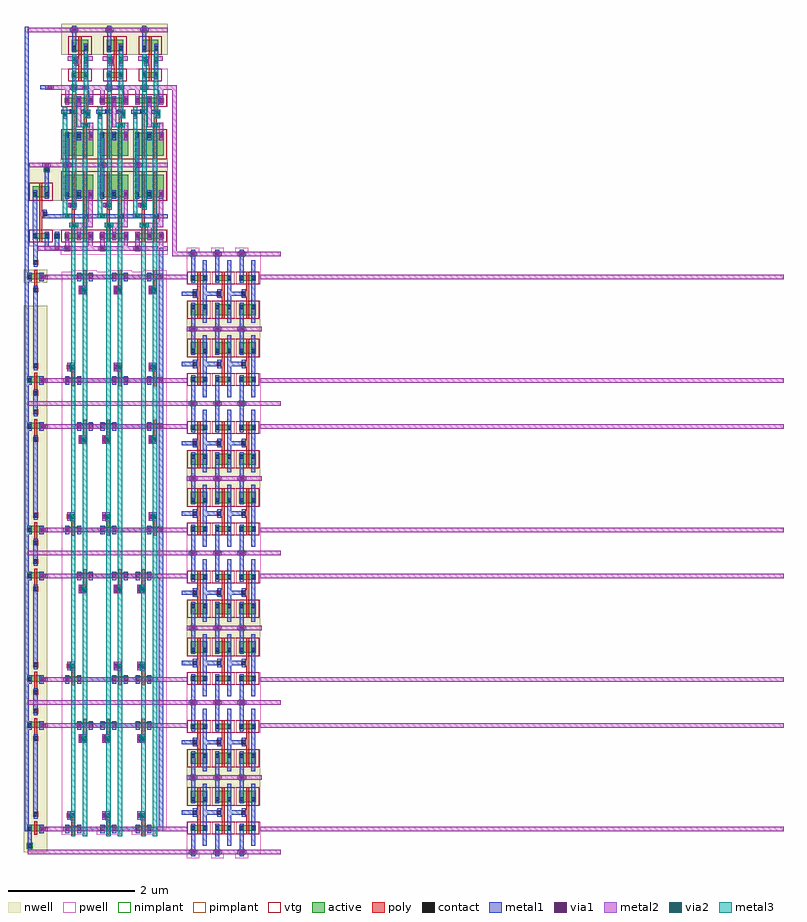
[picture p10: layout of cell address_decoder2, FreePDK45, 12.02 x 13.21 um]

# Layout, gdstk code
from math import pi, radians
import gdstk
lib = gdstk.Library(unit=1e-6, precision=5e-10)
def R(c, l, rs):  # rectangles x0, y0, x1, y1
    for r in rs: c.add(gdstk.rectangle(r[:2], r[2:], *l))
def A(c, l, x, y, w, h, nx, ny, dx, dy):  # array of equal rectangles
    R(c, l, [(x+i*dx, y+j*dy, x+i*dx+w, y+j*dy+h) for i in range(nx) for j in range(ny)])
active = (1, 0)
pwell = (2, 0)
nwell = (3, 0)
nimplant = (4, 0)
pimplant = (5, 0)
vtg = (6, 0)
poly = (9, 0)
contact = (10, 0)
metal1 = (11, 0)
via1 = (12, 0)
metal2 = (13, 0)
via2 = (14, 0)
metal3 = (15, 0)

dcont_26 = lib.new_cell('dcont_26')
R(dcont_26, active, [(-0.0375,0.03,0.0375,0.105)])
R(dcont_26, contact, [(-0.0325,0.035,0.0325,0.1)])
R(dcont_26, metal1, [(-0.0325,0,0.0325,0.135)])

pmos_vtl_22 = lib.new_cell('pmos_vtl_22')
R(pmos_vtl_22, active, [(-0.105,0,0.155,0.1), (-0.105,0,-0.03,0.1), (-0.105,0,-0.03,0.1), (0.08,0,0.155,0.1), (0.08,0,0.155,0.1)])
R(pmos_vtl_22, nwell, [(-0.16,-0.055,0.21,0.155)])
R(pmos_vtl_22, pimplant, [(-0.105,0,0.155,0.1)])
R(pmos_vtl_22, poly, [(0,-0.055,0.05,0), (0,-0.055,0.05,0.155), (0,0.1,0.05,0.155)])
pmos_vtl_22.add(gdstk.Reference(dcont_26, (0.1175,-0.03)))
pmos_vtl_22.add(gdstk.Reference(dcont_26, (-0.0675,-0.03)))
pmos_vtl_22.add(gdstk.Label('l = 0.05', (0.06,0.05), layer=239, texttype=0))
pmos_vtl_22.add(gdstk.Label('w = 0.10', (0.025,0.165), layer=239, texttype=0))

pcont_2 = lib.new_cell('pcont_2')
R(pcont_2, poly, [(-0.0375,-0.0375,0.0375,0.0375)])
R(pcont_2, contact, [(-0.0325,-0.0325,0.0325,0.0325)])
R(pcont_2, metal1, [(-0.0325,-0.0675,0.0325,0.0675)])

nmos_vtl_23 = lib.new_cell('nmos_vtl_23')
R(nmos_vtl_23, active, [(-0.105,0,0.155,0.09), (-0.105,0,-0.03,0.09), (-0.105,0,-0.03,0.09), (0.08,0,0.155,0.09), (0.08,0,0.155,0.09)])
R(nmos_vtl_23, pwell, [(-0.16,-0.055,0.21,0.145)])
R(nmos_vtl_23, nimplant, [(-0.105,0,0.155,0.09)])
R(nmos_vtl_23, poly, [(0,-0.055,0.05,0), (0,-0.055,0.05,0.145), (0,0.09,0.05,0.145)])
nmos_vtl_23.add(gdstk.Reference(dcont_26, (0.1175,-0.03)))
nmos_vtl_23.add(gdstk.Reference(dcont_26, (-0.0675,-0.03)))
nmos_vtl_23.add(gdstk.Label('l = 0.05', (0.06,0.045), layer=239, texttype=0))
nmos_vtl_23.add(gdstk.Label('w = 0.09', (0.025,0.155), layer=239, texttype=0))

m2_m1_viac = lib.new_cell('M2_M1_viaC')
R(m2_m1_viac, metal1, [(-0.0325,-0.0675,0.0325,0.0675)])
R(m2_m1_viac, via1, [(-0.0325,-0.0325,0.0325,0.0325)])
R(m2_m1_viac, metal2, [(-0.035,-0.0675,0.035,0.0675)])

m3_m2_viab = lib.new_cell('M3_M2_viaB')
R(m3_m2_viab, metal2, [(-0.035,-0.07,0.035,0.07)])
R(m3_m2_viab, via2, [(-0.035,-0.035,0.035,0.035)])
R(m3_m2_viab, metal3, [(-0.035,-0.07,0.035,0.07)])

m2_m1_viab = lib.new_cell('M2_M1_viaB')
R(m2_m1_viab, metal1, [(-0.0675,-0.0325,0.0675,0.0325)])
R(m2_m1_viab, via1, [(-0.0325,-0.0325,0.0325,0.0325)])
R(m2_m1_viab, metal2, [(-0.0675,-0.035,0.0675,0.035)])

dcont_25 = lib.new_cell('dcont_25')
R(dcont_25, active, [(-0.0375,0.03,0.0375,0.105)])
R(dcont_25, contact, [(-0.0325,0.035,0.0325,0.1)])
R(dcont_25, metal1, [(-0.0325,0,0.0325,0.135)])

pmos_vtg_4 = lib.new_cell('pmos_vtg_4')
R(pmos_vtg_4, active, [(-0.105,0,0.155,0.18), (-0.105,0,-0.03,0.18), (0.08,0,0.155,0.18), (-0.105,0.01,-0.03,0.085), (0.08,0.01,0.155,0.085)])
R(pmos_vtg_4, nwell, [(-0.16,-0.055,0.21,0.235)])
R(pmos_vtg_4, pimplant, [(-0.105,0,0.155,0.18)])
R(pmos_vtg_4, vtg, [(-0.16,-0.055,0.21,0.235)])
R(pmos_vtg_4, poly, [(0,-0.055,0.05,0), (0,-0.055,0.05,0.235), (0,0.18,0.05,0.235)])
pmos_vtg_4.add(gdstk.Reference(dcont_25, (0.1175,-0.02)))
pmos_vtg_4.add(gdstk.Reference(dcont_25, (-0.0675,-0.02)))
pmos_vtg_4.add(gdstk.Label('l = 0.05', (0.06,0.09), layer=239, texttype=0))
pmos_vtg_4.add(gdstk.Label('w = 0.18', (0.025,0.245), layer=239, texttype=0))

nmos_vtg_5 = lib.new_cell('nmos_vtg_5')
R(nmos_vtg_5, active, [(-0.105,0,0.155,0.09), (-0.105,0,-0.03,0.09), (0.08,0,0.155,0.09), (-0.105,0.01,-0.03,0.085), (0.08,0.01,0.155,0.085)])
R(nmos_vtg_5, pwell, [(-0.16,-0.055,0.21,0.145)])
R(nmos_vtg_5, nimplant, [(-0.105,0,0.155,0.09)])
R(nmos_vtg_5, vtg, [(-0.16,-0.055,0.21,0.145)])
R(nmos_vtg_5, poly, [(0,-0.055,0.05,0), (0,-0.055,0.05,0.145), (0,0.09,0.05,0.145)])
nmos_vtg_5.add(gdstk.Reference(dcont_25, (0.1175,-0.02)))
nmos_vtg_5.add(gdstk.Reference(dcont_25, (-0.0675,-0.02)))
nmos_vtg_5.add(gdstk.Label('l = 0.05', (0.06,0.045), layer=239, texttype=0))
nmos_vtg_5.add(gdstk.Label('w = 0.09', (0.025,0.155), layer=239, texttype=0))

ntap_1 = lib.new_cell('NTAP_1')
R(ntap_1, active, [(-0.045,-0.045,0.045,0.045)])
R(ntap_1, nwell, [(-0.1,-0.1,0.1,0.1)])
R(ntap_1, nimplant, [(-0.045,-0.045,0.045,0.045)])
R(ntap_1, contact, [(-0.0325,-0.0325,0.0325,0.0325)])
R(ntap_1, metal1, [(-0.0325,-0.0675,0.0325,0.0675)])

ptap_0 = lib.new_cell('PTAP_0')
R(ptap_0, active, [(-0.045,-0.045,0.045,0.045)])
R(ptap_0, pwell, [(-0.1,-0.1,0.1,0.1)])
R(ptap_0, pimplant, [(-0.045,-0.045,0.045,0.045)])
R(ptap_0, contact, [(-0.0325,-0.0325,0.0325,0.0325)])
R(ptap_0, metal1, [(-0.0325,-0.0675,0.0325,0.0675)])

inv = lib.new_cell('inv')
R(inv, pwell, [(-0.005,-0.035,0.3925,0.48)])
R(inv, nwell, [(-0.005,0.735,0.385,1.225)])
R(inv, poly, [(0.1625,0.4675,0.2125,0.7375), (0.09,0.59,0.1625,0.66)])
R(inv, metal1, [(0.0625,0.005,0.1275,0.325), (0.2475,0.1,0.3125,1.0825), (-0.0875,0.595,0.1125,0.66), (0.0625,0.8925,0.1275,1.1175)])
R(inv, metal2, [(-0.235,-0.035,0.71,0.035), (-0.005,1.1475,0.4125,1.2175)])
inv.add(gdstk.Reference(pcont_2, (0.125,0.625)))
inv.add(gdstk.Reference(m2_m1_viab, (0.095,1.1825)))
inv.add(gdstk.Reference(m2_m1_viab, (0.095,0)))
inv.add(gdstk.Reference(pmos_vtg_4, (0.1625,0.79)))
inv.add(gdstk.Reference(nmos_vtg_5, (0.1625,0.335)))
inv.add(gdstk.Reference(ntap_1, (0.095,1.1825)))
inv.add(gdstk.Reference(ptap_0, (0.095,0)))

pmos_vtg_1 = lib.new_cell('pmos_vtg_1')
R(pmos_vtg_1, active, [(-0.105,0,0.155,0.36), (-0.105,0,-0.03,0.36), (0.08,0,0.155,0.36), (-0.105,0.01,-0.03,0.085), (0.08,0.01,0.155,0.085)])
R(pmos_vtg_1, nwell, [(-0.16,-0.055,0.21,0.415)])
R(pmos_vtg_1, pimplant, [(-0.105,0,0.155,0.36)])
R(pmos_vtg_1, vtg, [(-0.16,-0.055,0.21,0.415)])
R(pmos_vtg_1, poly, [(0,-0.055,0.05,0), (0,-0.055,0.05,0.415), (0,0.36,0.05,0.415)])
pmos_vtg_1.add(gdstk.Reference(dcont_25, (0.1175,-0.02)))
pmos_vtg_1.add(gdstk.Reference(dcont_25, (-0.0675,-0.02)))
pmos_vtg_1.add(gdstk.Label('l = 0.05', (0.06,0.18), layer=239, texttype=0))
pmos_vtg_1.add(gdstk.Label('w = 0.36', (0.025,0.425), layer=239, texttype=0))

m3_m2_viac = lib.new_cell('M3_M2_viaC')
R(m3_m2_viac, metal2, [(-0.07,-0.035,0.07,0.035)])
R(m3_m2_viac, via2, [(-0.035,-0.035,0.035,0.035)])
R(m3_m2_viac, metal3, [(-0.07,-0.035,0.07,0.035)])

nor_1 = lib.new_cell('nor_1')
R(nor_1, pwell, [(-0.005,-0.2375,0.575,0.16)])
R(nor_1, nwell, [(-0.005,0.615,0.575,1.28)])
R(nor_1, poly, [(0.1625,0.13,0.2125,0.205), (0.3525,0.13,0.4025,0.205), (0.3525,0.1875,0.4025,0.615), (0.1625,0.19,0.2125,0.615)])
R(nor_1, metal1, [(0,0.34,0.575,0.405), (0.0625,0.7725,0.1275,1.215)])
R(nor_1, metal2, [(0,-0.1725,0.575,-0.1025), (0.06,-0.1725,0.13,0.0025), (0.43,-0.1725,0.5,0.0025), (0.2475,0.09,0.3175,0.2675), (0.2275,0.1975,0.5,0.2675), (0.43,0.1975,0.5,0.7825), (0.0075,1.145,0.575,1.215)])
nor_1.add(gdstk.Reference(pmos_vtg_1, (0.3525,0.67)))
nor_1.add(gdstk.Reference(pmos_vtg_1, (0.1625,0.67)))
nor_1.add(gdstk.Reference(pcont_2, (0.39,0.3725), rotation=pi/2))
nor_1.add(gdstk.Reference(pcont_2, (0.175,0.5475), rotation=pi/2))
nor_1.add(gdstk.Reference(m2_m1_viab, (0.095,1.18)))
nor_1.add(gdstk.Reference(m2_m1_viab, (0.175,0.5475)))
nor_1.add(gdstk.Reference(m2_m1_viab, (0.095,-0.1375)))
nor_1.add(gdstk.Reference(m2_m1_viab, (0.2825,0.06), rotation=pi/2))
nor_1.add(gdstk.Reference(m2_m1_viac, (0.465,0.7175)))
nor_1.add(gdstk.Reference(m2_m1_viac, (0.465,0.06)))
nor_1.add(gdstk.Reference(m2_m1_viac, (0.095,0.06)))
nor_1.add(gdstk.Reference(m3_m2_viac, (0.2,0.2325)))
nor_1.add(gdstk.Reference(m3_m2_viac, (0.205,0.5475), rotation=pi/2))
nor_1.add(gdstk.Reference(nmos_vtg_5, (0.3525,0.015)))
nor_1.add(gdstk.Reference(nmos_vtg_5, (0.1625,0.015)))
nor_1.add(gdstk.Reference(ntap_1, (0.095,1.18)))
nor_1.add(gdstk.Reference(ptap_0, (0.095,-0.1375), rotation=pi/2))
nor_1.add(gdstk.Label('VDD', (0.2875,1.1875), layer=13, texttype=0))
nor_1.add(gdstk.Label('z', (0.475,0.4625), layer=13, texttype=0))
nor_1.add(gdstk.Label('VSS', (0.29,-0.14), layer=13, texttype=0))

nor_1_mx = lib.new_cell('nor_1_mx')
R(nor_1_mx, poly, [(0.1625,0.31,0.2125,0.385), (0.3525,0.325,0.4025,0.7), (0.1625,0.35,0.2125,0.7025), (0.1625,0.625,0.2125,0.7)])
R(nor_1_mx, metal1, [(0,0.385,0.1525,0.45), (0.0625,0.8575,0.1275,1.3)])
R(nor_1_mx, metal2, [(0,0,0.575,0.07), (0.06,0,0.13,0.185), (0.435,0,0.505,0.185), (0.2475,0.215,0.3175,0.6675), (0.2475,0.5975,0.505,0.6675), (0.435,0.5975,0.505,0.865), (0.0075,1.23,0.575,1.3)])
nor_1_mx.add(gdstk.Reference(pmos_vtg_1, (0.3525,0.755)))
nor_1_mx.add(gdstk.Reference(pmos_vtg_1, (0.1625,0.755)))
nor_1_mx.add(gdstk.Reference(pcont_2, (0.175,0.4175), rotation=pi/2))
nor_1_mx.add(gdstk.Reference(pcont_2, (0.3875,0.4175), rotation=pi/2))
nor_1_mx.add(gdstk.Reference(m2_m1_viab, (0.4225,0.4525), rotation=pi/2))
nor_1_mx.add(gdstk.Reference(m2_m1_viab, (0.095,1.265)))
nor_1_mx.add(gdstk.Reference(m2_m1_viab, (0.2825,0.2525), rotation=pi/2))
nor_1_mx.add(gdstk.Reference(m2_m1_viac, (0.47,0.8025)))
nor_1_mx.add(gdstk.Reference(m2_m1_viac, (0.095,0.2425)))
nor_1_mx.add(gdstk.Reference(m2_m1_viac, (0.47,0.2425)))
nor_1_mx.add(gdstk.Reference(m3_m2_viac, (0.4225,0.455), rotation=pi/2))
nor_1_mx.add(gdstk.Reference(m3_m2_viac, (0.38,0.6325)))
nor_1_mx.add(gdstk.Reference(nmos_vtg_5, (0.3525,0.195)))
nor_1_mx.add(gdstk.Reference(nmos_vtg_5, (0.1625,0.195)))
nor_1_mx.add(gdstk.Label('a0', (0.385,0.4175), layer=11, texttype=0))

inv_dec = lib.new_cell('inv_dec')
R(inv_dec, pwell, [(-0.1375,-0.055,0.2525,0.34)])
R(inv_dec, nwell, [(-0.1375,0.565,0.2525,1.055)])
R(inv_dec, poly, [(0.03,0.34,0.08,0.5675), (-0.0425,0.42,0.03,0.49)])
R(inv_dec, metal1, [(-0.5775,0.0125,-0.36,0.0775), (-0.07,0.05,-0.005,0.185), (0.115,0.305,0.18,0.6125), (-0.07,0.7225,-0.005,0.9475)])
R(inv_dec, metal2, [(-0.495,0.01,0.4725,0.08), (-0.1375,0.465,0.03,0.535), (0.1125,0.465,0.2525,0.535), (-0.1375,0.92,0.2525,0.99)])
inv_dec.add(gdstk.Reference(pcont_2, (-0.005,0.455)))
inv_dec.add(gdstk.Reference(m2_m1_viab, (-0.0375,0.045)))
inv_dec.add(gdstk.Reference(m2_m1_viab, (-0.0375,0.955)))
inv_dec.add(gdstk.Reference(m2_m1_viac, (0.1475,0.4525)))
inv_dec.add(gdstk.Reference(m2_m1_viac, (-0.005,0.455)))
inv_dec.add(gdstk.Reference(m2_m1_viac, (-0.4275,0.045), rotation=pi/2))
inv_dec.add(gdstk.Reference(pmos_vtg_4, (0.03,0.62)))
inv_dec.add(gdstk.Reference(nmos_vtg_5, (0.03,0.195)))
inv_dec.add(gdstk.Reference(ntap_1, (-0.0375,0.955)))
inv_dec.add(gdstk.Reference(ptap_0, (-0.0375,0.045)))

inv_nor = lib.new_cell('inv_nor')
R(inv_nor, pwell, [(0,0.1475,0.575,0.4375), (0,2.3775,0.575,2.9825)])
R(inv_nor, nwell, [(0,0.8925,0.565,2.0225), (0,3.2075,0.575,3.6975)])
R(inv_nor, metal2, [(-0.53,3.5625,0.575,3.6325)])
R(inv_nor, metal3, [(0.155,0.04,0.225,0.545), (0.34,0.04,0.41,2.125), (0.025,0.62,0.095,2.3825), (0.17,0.885,0.24,3.1575), (0.355,2.1975,0.425,3.1525)])
inv_nor.add(gdstk.Reference(nor_1, (0,0.2775)))
inv_nor.add(gdstk.Reference(nor_1_mx, (0,2.7225), x_reflection=True))
inv_nor.add(gdstk.Reference(m3_m2_viab, (0.205,3.14)))
inv_nor.add(gdstk.Reference(m3_m2_viab, (0.06,2.2625)))
inv_nor.add(gdstk.Reference(m3_m2_viab, (0.39,3.14)))
inv_nor.add(gdstk.Reference(m2_m1_viac, (0.06,2.26)))
inv_nor.add(gdstk.Reference(m2_m1_viab, (0.095,0.65)))
inv_nor.add(gdstk.Reference(m3_m2_viac, (0.095,0.65)))
inv_nor.add(gdstk.Reference(inv_dec, (0.2425,2.6425)))
inv_nor.add(gdstk.Label('dclk', (0.0475,0.6625), layer=15, texttype=0))

inv_clk = lib.new_cell('inv_clk')
R(inv_clk, pwell, [(0.0625,0.175,0.605,0.4375)])
R(inv_clk, nwell, [(0.0625,0.8925,0.605,1.4925)])
R(inv_clk, poly, [(0.3925,0.4325,0.4425,1.0925)])
R(inv_clk, metal1, [(0.13,0.105,0.195,0.35), (0.2925,0.105,0.3575,0.35), (0.0625,0.1075,0.3575,0.1725), (0.4775,0.4025,0.5425,1.03), (0.0625,0.6175,0.39,0.6825), (0.2925,1.045,0.3575,1.455)])
R(inv_clk, metal2, [(0.0625,0.105,0.4675,0.175), (0.0625,1.4225,0.605,1.4925)])
inv_clk.add(gdstk.Reference(pcont_2, (0.3575,0.685)))
inv_clk.add(gdstk.Reference(m2_m1_viab, (0.1625,0.14)))
inv_clk.add(gdstk.Reference(m2_m1_viab, (0.325,1.4575)))
inv_clk.add(gdstk.Reference(pmos_vtg_4, (0.3925,0.9475)))
inv_clk.add(gdstk.Reference(nmos_vtg_5, (0.3925,0.2925)))
inv_clk.add(gdstk.Reference(ntap_1, (0.325,1.3925)))
inv_clk.add(gdstk.Reference(ptap_0, (0.1625,0.3375)))

ntap = lib.new_cell('ntap')
R(ntap, metal1, [(0.0675,0.0375,0.1325,0.4025)])
ntap.add(gdstk.Reference(ntap_1, (0.1,0.1)))

address_decoder2 = lib.new_cell('address_decoder2')
R(address_decoder2, pwell, [(-1.985,0.365,-0.32,9.1775)])
R(address_decoder2, nwell, [(-2.58,0,-2.21,8.6425)])
A(address_decoder2, poly, -1.825, 0.33, 0.05, 0.2825, 3, 1, 0.555, 0)
A(address_decoder2, poly, -1.69, 1.7475, 0.1, 0.1, 1, 3, 0, 2.365)
A(address_decoder2, poly, -1.64, 1.7975, 0.05, 0.1675, 1, 3, 0, 2.365)
A(address_decoder2, poly, -1.825, 2.695, 0.05, 0.2825, 1, 3, 0, 2.365)
A(address_decoder2, poly, -1.69, 8.8425, 0.1, 0.1, 3, 1, 0.555, 0)
A(address_decoder2, poly, -1.64, 8.8925, 0.05, 0.1675, 3, 1, 0.555, 0)
R(address_decoder2, poly, [(-1.32,1.7475,-1.22,1.8475), (-0.765,1.7475,-0.665,1.8475), (-2.42,1.7975,-2.37,1.91), (-1.27,1.7975,-1.22,1.965), (-0.715,1.7975,-0.665,1.965), (-2.42,2.5275,-2.37,2.64), (-1.085,2.695,-1.035,2.9775), (-0.715,2.695,-0.665,2.9775), (-1.135,4.1125,-1.035,4.2125), (-0.765,4.1125,-0.665,4.2125), (-2.42,4.1625,-2.37,4.275), (-1.085,4.1625,-1.035,4.33), (-0.715,4.1625,-0.665,4.33), (-2.42,4.8925,-2.37,5.005), (-1.27,5.06,-1.22,5.3425), (-0.53,5.06,-0.48,5.3425), (-1.32,6.4775,-1.22,6.5775), (-0.58,6.4775,-0.48,6.5775), (-2.42,6.5275,-2.37,6.64), (-1.27,6.5275,-1.22,6.695), (-0.53,6.5275,-0.48,6.695), (-2.42,7.2575,-2.37,7.37), (-1.085,7.425,-1.035,7.7075), (-0.53,7.425,-0.48,7.7075), (-2.42,8.8925,-2.37,9.005)])
A(address_decoder2, metal1, -2.5675, 0.33, 0.065, 5.635, 1, 4, 0, 2.365)
A(address_decoder2, metal1, -2.43, 0.5975, 0.065, 1.165, 1, 4, 0, 2.365)
A(address_decoder2, metal1, -2.5675, 1.965, 0.065, 4.73, 1, 3, 0, 2.365)
A(address_decoder2, metal1, -2.43, 2.2325, 0.065, 0.26, 1, 3, 0, 2.365)
R(address_decoder2, metal1, [(-2.52,0.065,-2.455,0.33), (-0.445,0.3275,-0.375,9.56), (-1.715,0.33,-1.315,0.4), (-1.16,0.33,-0.76,0.4), (-0.6,0.33,-0.4,0.4), (-1.525,1.965,-1.325,2.035), (-1.16,1.965,-0.76,2.035), (-0.6,1.965,-0.4,2.035), (-1.715,2.695,-1.155,2.765), (-0.97,2.695,-0.77,2.765), (-0.6,2.695,-0.4,2.765), (-1.525,4.33,-1.125,4.4), (-0.97,4.33,-0.77,4.4), (-0.6,4.33,-0.4,4.4), (-1.715,5.06,-1.315,5.13), (-1.16,5.06,-0.6,5.13), (-1.525,6.695,-1.325,6.765), (-1.16,6.695,-0.6,6.765), (-1.715,7.425,-1.155,7.495), (-0.97,7.425,-0.57,7.495), (-2.5675,9.06,-2.5025,9.15), (-1.525,9.06,-1.125,9.13), (-0.97,9.06,-0.57,9.13), (-2.43,9.3275,-2.365,9.7275)])
A(address_decoder2, metal2, -2.52, -0.035, 2.52, 0.07, 1, 4, 0, 2.365)
R(address_decoder2, metal2, [(-2.335,0.33,0,0.4), (1.155,0.33,9.435,0.4), (-2.335,1.965,0,2.035), (1.155,1.965,9.435,2.035), (-2.335,2.695,0,2.765), (1.155,2.695,9.435,2.765), (-2.335,4.33,0,4.4), (1.155,4.33,9.435,4.4), (-2.335,5.06,0,5.13), (1.155,5.06,9.435,5.13), (-2.335,6.695,0,6.765), (1.155,6.695,9.435,6.765), (-2.335,7.425,0,7.495), (1.155,7.425,9.435,7.495), (-2.335,9.06,0,9.13), (1.155,9.06,9.435,9.13), (-0.235,9.4275,-0.165,12.1325)])
R(address_decoder2, metal3, [(-1.835,0.2475,-1.765,9.455), (-1.65,0.2475,-1.58,9.455), (-1.28,0.2475,-1.21,9.455), (-1.095,0.2475,-1.025,9.455), (-0.725,0.2475,-0.655,9.455), (-0.54,0.2475,-0.47,9.455)])
address_decoder2.add(gdstk.Reference(pmos_vtl_22, (-2.42,9.06)))
address_decoder2.add(gdstk.Reference(pmos_vtl_22, (-2.42,7.425)))
address_decoder2.add(gdstk.Reference(pmos_vtl_22, (-2.42,6.695)))
address_decoder2.add(gdstk.Reference(pmos_vtl_22, (-2.42,5.06)))
address_decoder2.add(gdstk.Reference(pmos_vtl_22, (-2.42,4.33)))
address_decoder2.add(gdstk.Reference(pmos_vtl_22, (-2.42,2.695)))
address_decoder2.add(gdstk.Reference(pmos_vtl_22, (-2.42,1.965)))
address_decoder2.add(gdstk.Reference(pmos_vtl_22, (-2.42,0.33)))
address_decoder2.add(gdstk.Reference(pcont_2, (-1.6775,8.8925)))
address_decoder2.add(gdstk.Reference(pcont_2, (-1.1225,8.8925)))
address_decoder2.add(gdstk.Reference(pcont_2, (-0.5675,8.8925)))
address_decoder2.add(gdstk.Reference(pcont_2, (-2.395,8.8925)))
address_decoder2.add(gdstk.Reference(pcont_2, (-2.395,9.3275)))
address_decoder2.add(gdstk.Reference(pcont_2, (-1.8625,7.6725)))
address_decoder2.add(gdstk.Reference(pcont_2, (-1.1225,7.6725)))
address_decoder2.add(gdstk.Reference(pcont_2, (-0.5675,7.6725)))
address_decoder2.add(gdstk.Reference(pcont_2, (-2.395,7.2575)))
address_decoder2.add(gdstk.Reference(pcont_2, (-2.395,7.6925)))
address_decoder2.add(gdstk.Reference(pcont_2, (-1.6775,6.5275)))
address_decoder2.add(gdstk.Reference(pcont_2, (-1.3075,6.5275)))
address_decoder2.add(gdstk.Reference(pcont_2, (-0.5675,6.5275)))
address_decoder2.add(gdstk.Reference(pcont_2, (-2.395,6.5275)))
address_decoder2.add(gdstk.Reference(pcont_2, (-2.395,6.9625)))
address_decoder2.add(gdstk.Reference(pcont_2, (-1.8625,5.3075)))
address_decoder2.add(gdstk.Reference(pcont_2, (-1.3075,5.3075)))
address_decoder2.add(gdstk.Reference(pcont_2, (-0.5675,5.3075)))
address_decoder2.add(gdstk.Reference(pcont_2, (-2.395,4.8925)))
address_decoder2.add(gdstk.Reference(pcont_2, (-2.395,5.3275)))
address_decoder2.add(gdstk.Reference(pcont_2, (-1.6775,4.1625)))
address_decoder2.add(gdstk.Reference(pcont_2, (-1.1225,4.1625)))
address_decoder2.add(gdstk.Reference(pcont_2, (-0.7525,4.1625)))
address_decoder2.add(gdstk.Reference(pcont_2, (-2.395,4.1625)))
address_decoder2.add(gdstk.Reference(pcont_2, (-2.395,4.5975)))
address_decoder2.add(gdstk.Reference(pcont_2, (-1.8625,2.9425)))
address_decoder2.add(gdstk.Reference(pcont_2, (-1.1225,2.9425)))
address_decoder2.add(gdstk.Reference(pcont_2, (-0.7525,2.9425)))
address_decoder2.add(gdstk.Reference(pcont_2, (-2.395,2.5275)))
address_decoder2.add(gdstk.Reference(pcont_2, (-2.395,2.9625)))
address_decoder2.add(gdstk.Reference(pcont_2, (-1.6775,1.7975)))
address_decoder2.add(gdstk.Reference(pcont_2, (-1.3075,1.7975)))
address_decoder2.add(gdstk.Reference(pcont_2, (-0.7525,1.7975)))
address_decoder2.add(gdstk.Reference(pcont_2, (-2.395,1.7975)))
address_decoder2.add(gdstk.Reference(pcont_2, (-2.395,2.2325)))
address_decoder2.add(gdstk.Reference(pcont_2, (-1.8625,0.5775)))
address_decoder2.add(gdstk.Reference(pcont_2, (-1.3075,0.5775)))
address_decoder2.add(gdstk.Reference(pcont_2, (-0.7525,0.5775)))
address_decoder2.add(gdstk.Reference(pcont_2, (-2.395,0.5975)))
address_decoder2.add(gdstk.Reference(nmos_vtl_23, (-1.64,9.06)))
address_decoder2.add(gdstk.Reference(nmos_vtl_23, (-1.085,9.06)))
address_decoder2.add(gdstk.Reference(nmos_vtl_23, (-0.53,9.06)))
address_decoder2.add(gdstk.Reference(nmos_vtl_23, (-1.825,7.425)))
address_decoder2.add(gdstk.Reference(nmos_vtl_23, (-1.085,7.425)))
address_decoder2.add(gdstk.Reference(nmos_vtl_23, (-0.53,7.425)))
address_decoder2.add(gdstk.Reference(nmos_vtl_23, (-1.64,6.695)))
address_decoder2.add(gdstk.Reference(nmos_vtl_23, (-1.27,6.695)))
address_decoder2.add(gdstk.Reference(nmos_vtl_23, (-0.53,6.695)))
address_decoder2.add(gdstk.Reference(nmos_vtl_23, (-1.825,5.06)))
address_decoder2.add(gdstk.Reference(nmos_vtl_23, (-1.27,5.06)))
address_decoder2.add(gdstk.Reference(nmos_vtl_23, (-0.53,5.06)))
address_decoder2.add(gdstk.Reference(nmos_vtl_23, (-1.64,4.33)))
address_decoder2.add(gdstk.Reference(nmos_vtl_23, (-1.085,4.33)))
address_decoder2.add(gdstk.Reference(nmos_vtl_23, (-0.715,4.33)))
address_decoder2.add(gdstk.Reference(nmos_vtl_23, (-1.825,2.695)))
address_decoder2.add(gdstk.Reference(nmos_vtl_23, (-1.085,2.695)))
address_decoder2.add(gdstk.Reference(nmos_vtl_23, (-0.715,2.695)))
address_decoder2.add(gdstk.Reference(nmos_vtl_23, (-1.64,1.965)))
address_decoder2.add(gdstk.Reference(nmos_vtl_23, (-1.27,1.965)))
address_decoder2.add(gdstk.Reference(nmos_vtl_23, (-0.715,1.965)))
address_decoder2.add(gdstk.Reference(nmos_vtl_23, (-1.825,0.33)))
address_decoder2.add(gdstk.Reference(nmos_vtl_23, (-1.27,0.33)))
address_decoder2.add(gdstk.Reference(nmos_vtl_23, (-0.715,0.33)))
address_decoder2.add(gdstk.Reference(m2_m1_viac, (-2.2675,9.095), rotation=pi/2))
address_decoder2.add(gdstk.Reference(m2_m1_viac, (-1.71,9.095), rotation=pi/2))
address_decoder2.add(gdstk.Reference(m2_m1_viac, (-1.6775,8.8925)))
address_decoder2.add(gdstk.Reference(m2_m1_viac, (-1.1225,8.8925)))
address_decoder2.add(gdstk.Reference(m2_m1_viac, (-0.5675,8.8925)))
address_decoder2.add(gdstk.Reference(m2_m1_viac, (-2.2675,7.46), rotation=pi/2))
address_decoder2.add(gdstk.Reference(m2_m1_viac, (-1.895,7.46), rotation=pi/2))
address_decoder2.add(gdstk.Reference(m2_m1_viac, (-1.8625,7.6725)))
address_decoder2.add(gdstk.Reference(m2_m1_viac, (-1.1225,7.6725)))
address_decoder2.add(gdstk.Reference(m2_m1_viac, (-0.5675,7.6725)))
address_decoder2.add(gdstk.Reference(m2_m1_viac, (-2.2675,6.73), rotation=pi/2))
address_decoder2.add(gdstk.Reference(m2_m1_viac, (-1.71,6.73), rotation=pi/2))
address_decoder2.add(gdstk.Reference(m2_m1_viac, (-1.6775,6.5275)))
address_decoder2.add(gdstk.Reference(m2_m1_viac, (-1.3075,6.5275)))
address_decoder2.add(gdstk.Reference(m2_m1_viac, (-0.5675,6.5275)))
address_decoder2.add(gdstk.Reference(m2_m1_viac, (-2.2675,5.095), rotation=pi/2))
address_decoder2.add(gdstk.Reference(m2_m1_viac, (-1.895,5.095), rotation=pi/2))
address_decoder2.add(gdstk.Reference(m2_m1_viac, (-1.8625,5.3075)))
address_decoder2.add(gdstk.Reference(m2_m1_viac, (-1.3075,5.3075)))
address_decoder2.add(gdstk.Reference(m2_m1_viac, (-0.5675,5.3075)))
address_decoder2.add(gdstk.Reference(m2_m1_viac, (-2.2675,4.365), rotation=pi/2))
address_decoder2.add(gdstk.Reference(m2_m1_viac, (-1.71,4.365), rotation=pi/2))
address_decoder2.add(gdstk.Reference(m2_m1_viac, (-1.6775,4.1625)))
address_decoder2.add(gdstk.Reference(m2_m1_viac, (-1.1225,4.1625)))
address_decoder2.add(gdstk.Reference(m2_m1_viac, (-0.7525,4.1625)))
address_decoder2.add(gdstk.Reference(m2_m1_viac, (-2.2675,2.73), rotation=pi/2))
address_decoder2.add(gdstk.Reference(m2_m1_viac, (-1.895,2.73), rotation=pi/2))
address_decoder2.add(gdstk.Reference(m2_m1_viac, (-1.8625,2.9425)))
address_decoder2.add(gdstk.Reference(m2_m1_viac, (-1.1225,2.9425)))
address_decoder2.add(gdstk.Reference(m2_m1_viac, (-0.7525,2.9425)))
address_decoder2.add(gdstk.Reference(m2_m1_viac, (-2.2675,2), rotation=pi/2))
address_decoder2.add(gdstk.Reference(m2_m1_viac, (-1.71,2), rotation=pi/2))
address_decoder2.add(gdstk.Reference(m2_m1_viac, (-1.6775,1.7975)))
address_decoder2.add(gdstk.Reference(m2_m1_viac, (-1.3075,1.7975)))
address_decoder2.add(gdstk.Reference(m2_m1_viac, (-0.7525,1.7975)))
address_decoder2.add(gdstk.Reference(m2_m1_viac, (-2.2675,0.365), rotation=pi/2))
address_decoder2.add(gdstk.Reference(m2_m1_viac, (-1.895,0.365), rotation=pi/2))
address_decoder2.add(gdstk.Reference(m2_m1_viac, (-1.8625,0.5775)))
address_decoder2.add(gdstk.Reference(m2_m1_viac, (-1.3075,0.5775)))
address_decoder2.add(gdstk.Reference(m2_m1_viac, (-0.7525,0.5775)))
address_decoder2.add(gdstk.Reference(m3_m2_viab, (-1.6275,8.8925)))
address_decoder2.add(gdstk.Reference(m3_m2_viab, (-1.0725,8.8925)))
address_decoder2.add(gdstk.Reference(m3_m2_viab, (-0.5175,8.8925)))
address_decoder2.add(gdstk.Reference(m3_m2_viab, (-1.8125,7.6725)))
address_decoder2.add(gdstk.Reference(m3_m2_viab, (-1.0725,7.6725)))
address_decoder2.add(gdstk.Reference(m3_m2_viab, (-0.5175,7.6725)))
address_decoder2.add(gdstk.Reference(m3_m2_viab, (-1.6275,6.5275)))
address_decoder2.add(gdstk.Reference(m3_m2_viab, (-1.2575,6.5275)))
address_decoder2.add(gdstk.Reference(m3_m2_viab, (-0.5175,6.5275)))
address_decoder2.add(gdstk.Reference(m3_m2_viab, (-1.8125,5.3075)))
address_decoder2.add(gdstk.Reference(m3_m2_viab, (-1.2575,5.3075)))
address_decoder2.add(gdstk.Reference(m3_m2_viab, (-0.5175,5.3075)))
address_decoder2.add(gdstk.Reference(m3_m2_viab, (-1.6275,4.1625)))
address_decoder2.add(gdstk.Reference(m3_m2_viab, (-1.0725,4.1625)))
address_decoder2.add(gdstk.Reference(m3_m2_viab, (-0.7025,4.1625)))
address_decoder2.add(gdstk.Reference(m3_m2_viab, (-1.8125,2.9425)))
address_decoder2.add(gdstk.Reference(m3_m2_viab, (-1.0725,2.9425)))
address_decoder2.add(gdstk.Reference(m3_m2_viab, (-0.7025,2.9425)))
address_decoder2.add(gdstk.Reference(m3_m2_viab, (-1.6275,1.7975)))
address_decoder2.add(gdstk.Reference(m3_m2_viab, (-1.2575,1.7975)))
address_decoder2.add(gdstk.Reference(m3_m2_viab, (-0.7025,1.7975)))
address_decoder2.add(gdstk.Reference(m3_m2_viab, (-1.8125,0.5775)))
address_decoder2.add(gdstk.Reference(m3_m2_viab, (-1.2575,0.5775)))
address_decoder2.add(gdstk.Reference(m3_m2_viab, (-0.7025,0.5775)))
address_decoder2.add(gdstk.Reference(inv, (0.77,9.46), x_reflection=True))
address_decoder2.add(gdstk.Reference(inv, (0.385,9.46), x_reflection=True))
address_decoder2.add(gdstk.Reference(inv, (0,9.46), x_reflection=True))
address_decoder2.add(gdstk.Reference(inv, (0.77,7.095)))
address_decoder2.add(gdstk.Reference(inv, (0.385,7.095)))
address_decoder2.add(gdstk.Reference(inv, (0,7.095)))
address_decoder2.add(gdstk.Reference(inv, (0.77,7.095), x_reflection=True))
address_decoder2.add(gdstk.Reference(inv, (0.385,7.095), x_reflection=True))
address_decoder2.add(gdstk.Reference(inv, (0,7.095), x_reflection=True))
address_decoder2.add(gdstk.Reference(inv, (0.77,4.73)))
address_decoder2.add(gdstk.Reference(inv, (0.385,4.73)))
address_decoder2.add(gdstk.Reference(inv, (0,4.73)))
address_decoder2.add(gdstk.Reference(inv, (0.77,4.73), x_reflection=True))
address_decoder2.add(gdstk.Reference(inv, (0.385,4.73), x_reflection=True))
address_decoder2.add(gdstk.Reference(inv, (0,4.73), x_reflection=True))
address_decoder2.add(gdstk.Reference(inv, (0.77,2.365)))
address_decoder2.add(gdstk.Reference(inv, (0.385,2.365)))
address_decoder2.add(gdstk.Reference(inv, (0,2.365)))
address_decoder2.add(gdstk.Reference(inv, (0.77,2.365), x_reflection=True))
address_decoder2.add(gdstk.Reference(inv, (0.385,2.365), x_reflection=True))
address_decoder2.add(gdstk.Reference(inv, (0,2.365), x_reflection=True))
address_decoder2.add(gdstk.Reference(inv, (0.77,0)))
address_decoder2.add(gdstk.Reference(inv, (0.385,0)))
address_decoder2.add(gdstk.Reference(inv, (0,0)))
address_decoder2.add(gdstk.Reference(inv_nor, (-1.99,9.41)))
address_decoder2.add(gdstk.Reference(inv_nor, (-1.435,9.41)))
address_decoder2.add(gdstk.Reference(inv_nor, (-0.88,9.41)))
address_decoder2.add(gdstk.Reference(inv_clk, (-1.895,9.41), rotation=pi, x_reflection=True))
address_decoder2.add(gdstk.Reference(ntap, (-2.5875,0)))

lib.write_gds('address_decoder2.gds')
